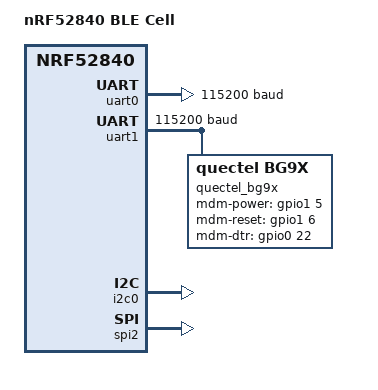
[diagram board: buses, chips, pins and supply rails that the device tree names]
/*
 * Copyright (c) 2020 Analog Life LLC
 *
 * SPDX-License-Identifier: Apache-2.0
 */

/dts-v1/;
#include <nordic/nrf52840_qiaa.dtsi>
#include <nordic/nrf52840_partition.dtsi>
#include "contextualelectronics_abc-pinctrl.dtsi"

/ {
	compatible = "nordic,nrf52840-ble-cell";
	model = "nRF52840 BLE Cell";

	chosen {
		zephyr,console = &uart0;
		zephyr,shell-uart = &uart0;
	};

	aliases {
		watchdog0 = &wdt0;
	};
};

&reg1 {
	regulator-initial-mode = <NRF5X_REG_MODE_DCDC>;
};

&uicr {
	gpio-as-nreset;
};

&gpiote {
	status = "okay";
};

&gpio0 {
	status = "okay";
};

&gpio1 {
	status = "okay";
};

&uart0 {
	compatible = "nordic,nrf-uart";
	current-speed = <115200>;

	pinctrl-0 = <&uart0_default>;
	pinctrl-1 = <&uart0_sleep>;
	pinctrl-names = "default", "sleep";
	status = "okay";
};

arduino_serial: &uart1 {
	current-speed = <115200>;

	/* Use hardware flow control. */
	hw-flow-control;

	/* BG9x description. */
	pinctrl-0 = <&uart1_default>;
	pinctrl-1 = <&uart1_sleep>;
	pinctrl-names = "default", "sleep";
	status = "okay";

	quectel_bg9x {
		compatible = "quectel,bg9x";

		mdm-power-gpios = <&gpio1 5 0>;
		mdm-reset-gpios = <&gpio1 6 0>;
		mdm-dtr-gpios = <&gpio0 22 0>;
		status = "okay";
	};

	/* UART Pin info. */
};

arduino_i2c: &i2c0 {
	compatible = "nordic,nrf-twi";
	pinctrl-0 = <&i2c0_default>;
	pinctrl-1 = <&i2c0_sleep>;
	pinctrl-names = "default", "sleep";
	status = "okay";
};

&spi2 {
	compatible = "nordic,nrf-spi";

	/* This SPI device is interfaced with the SD card. */
	pinctrl-0 = <&spi2_default>;
	pinctrl-1 = <&spi2_sleep>;
	pinctrl-names = "default", "sleep";
	status = "okay";
};
